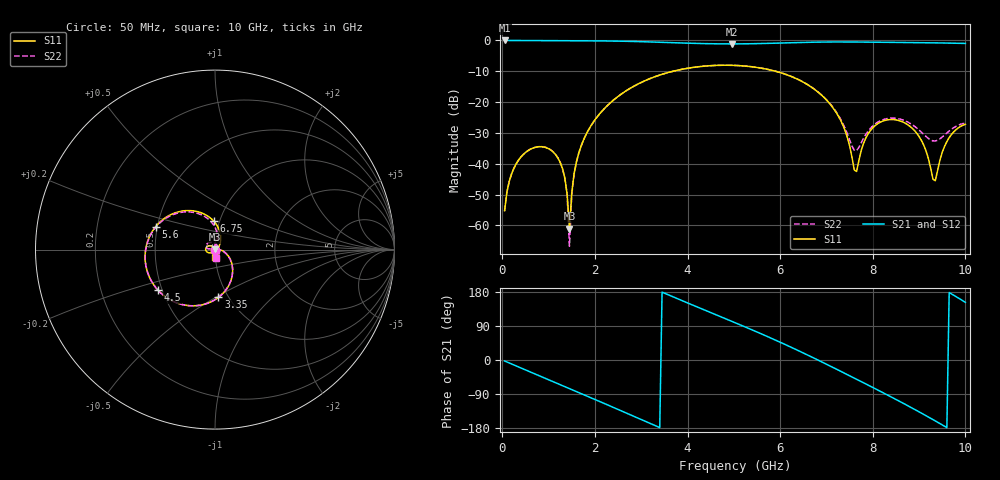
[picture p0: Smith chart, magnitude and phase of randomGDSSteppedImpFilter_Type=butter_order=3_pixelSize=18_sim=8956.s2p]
! freq	dB(S11)	phase(S11)	dB(S12)	phase(S12)
!  dB(S21)	phase(S21)	dB(S22)	phase(S22)
!S-par simulation data
#  GHz  S  DB  R 50
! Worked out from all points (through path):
!   200 points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, 50 MHz to 10 GHz, reference 50 ohm
!   highest |S21| = -0.01 dB at 50 MHz (marker M1); lowest = -1.1 dB at 4.95 GHz (marker M2)
!   group delay of S21, straight-line fit = 154 ps
!   lowest |S11| = -61.1 dB at 1.45 GHz (marker M3), VSWR 1.00, Z = 50 + j0.0822 ohm
!   |S11| at or under -10 dB: start of sweep to 3.685 GHz; 5.902 GHz to end of sweep
!   |S22| runs from -66.7 to -8.0 dB; largest |S21 - S12| = 0
!   S11 on the Smith chart (normalised r, x): 50 MHz: 1.00, -0.00; 3.35 GHz: 0.90, -0.52; 4.5 GHz: 0.47, -0.25; 5.6 GHz: 0.49, +0.14; 6.75 GHz: 0.94, +0.31; 10 GHz: 0.99, -0.09
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0.05  -55.23 -80.3  -0.01 -2.6  -0.01 -2.6  -55.22 -80.4
0.35  -38.83 -106.2  -0.03 -18.2  -0.03 -18.2  -38.82 -106.0
1  -35.10 -143.5  -0.07 -51.8  -0.07 -51.8  -35.08 -142.6
1.35  -44.58 -168.0  -0.08 -69.9  -0.08 -69.9  -44.54 -163.9
1.45  -61.09 111.3  -0.09 -75.1  -0.09 -75.1  -66.72 127.8
1.55  -43.28 17.2  -0.10 -80.3  -0.10 -80.3  -43.44 13.0
1.75  -32.42 1.3  -0.11 -90.8  -0.11 -90.8  -32.45 -0.1
3.35  -11.47 -85.8  -0.56 -175.7  -0.56 -175.7  -11.48 -85.8
3.4  -11.22 -88.4  -0.58 -178.3  -0.58 -178.3  -11.22 -88.4
4.5  -8.18 -144.7  -1.07 125.2  -1.07 125.2  -8.18 -144.3
4.95  -8.06 -167.4  -1.13 102.4  -1.13 102.4  -8.06 -166.7
5.05  -8.12 -172.5  -1.12 97.3  -1.12 97.3  -8.12 -171.7
5.6  -9.01 158.9  -1.00 68.7  -1.00 68.7  -9.00 160.3
6.7  -15.40 95.8  -0.57 6.8  -0.57 6.8  -15.37 101.5
6.75  -15.95 92.7  -0.56 3.9  -0.56 3.9  -15.91 98.9
7.3  -25.74 54.1  -0.49 -29.3  -0.49 -29.3  -25.39 77.1
7.65  -42.51 -71.1  -0.51 -50.8  -0.51 -50.8  -35.74 137.3
7.9  -30.28 -143.1  -0.54 -66.2  -0.54 -66.2  -29.38 173.9
8.35  -25.70 -178.2  -0.62 -94.4  -0.62 -94.4  -25.26 155.4
8.95  -30.11 137.6  -0.71 -133.4  -0.71 -133.4  -28.42 101.7
9.35  -45.52 10.9  -0.78 -160.7  -0.78 -160.7  -32.60 17.8
10  -27.20 -92.6  -0.97 152.2  -0.97 152.2  -26.80 -85.5
